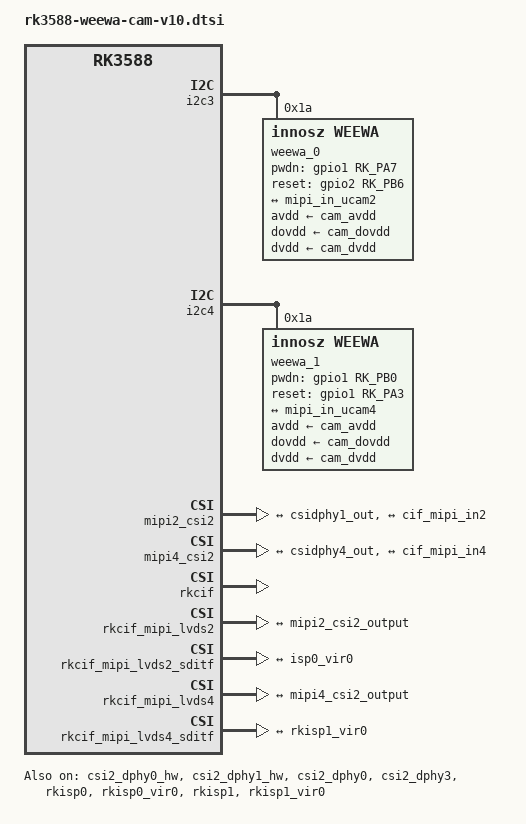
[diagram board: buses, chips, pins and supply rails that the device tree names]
// SPDX-License-Identifier: (GPL-2.0+ OR MIT)
/*
 * Copyright (c) 2021 Rockchip Electronics Co., Ltd.
 *
 */
 
&csi2_dphy0_hw {
	status = "okay";
};

&csi2_dphy1_hw {
	status = "okay";
};

&csi2_dphy0 {
	status = "okay";

	ports {
		#address-cells = <1>;
		#size-cells = <0>;
		port@0 {
			reg = <0>;
			#address-cells = <1>;
			#size-cells = <0>;

			mipi_in_ucam2: endpoint@1 {
				reg = <1>;
				remote-endpoint = <&weewa_out0>;
				data-lanes = <1 2 3 4>;
			};
		};
		port@1 {
			reg = <1>;
			#address-cells = <1>;
			#size-cells = <0>;

			csidphy1_out: endpoint@0 {
				reg = <0>;
				remote-endpoint = <&mipi2_csi2_input>;
			};
		};
	};
};
&csi2_dphy3 {
	status = "okay";

	ports {
		#address-cells = <1>;
		#size-cells = <0>;
		port@0 {
			reg = <0>;
			#address-cells = <1>;
			#size-cells = <0>;

			mipi_in_ucam4: endpoint@1 {
				reg = <1>;
				remote-endpoint = <&weewa_out1>;
				data-lanes = <1 2>;
			};
		};
		port@1 {
			reg = <1>;
			#address-cells = <1>;
			#size-cells = <0>;

			csidphy4_out: endpoint@0 {
				reg = <0>;
				remote-endpoint = <&mipi4_csi2_input>;
			};
		};
	};
};
&i2c3 {
	
	status = "okay";
	pinctrl-names = "default";
    pinctrl-0 = <&i2c3m0_xfer>;	
	
	weewa_0: weewa-0@1a {
		compatible = "innosz,weewa";
		status = "okay";
		reg = <0x1a>;
		//reg = <0x10>;
		clocks = <&cru CLK_MIPI_CAMARAOUT_M1>;
		clock-names = "xvclk";
		power-domains = <&power RK3588_PD_VI>;
		pwdn-gpios = <&gpio1 RK_PA7 GPIO_ACTIVE_HIGH>;
		reset-gpios = <&gpio2 RK_PB6 GPIO_ACTIVE_HIGH>;
		pinctrl-names = "rockchip,camera_default";
		pinctrl-0 = <&mipim0_camera1_clk>;
		avdd-supply = <&cam_avdd>;
		dovdd-supply = <&cam_dovdd>;
		dvdd-supply = <&cam_dvdd>;		
		rockchip,camera-module-index = <0>;
		rockchip,camera-module-facing = "back";
		rockchip,camera-module-name = "CMK-OT1980-PX1";
		rockchip,camera-module-lens-name = "SHG102";
		port {
			weewa_out0: endpoint {
				remote-endpoint = <&mipi_in_ucam2>;
				data-lanes = <1 2 3 4>;
			};
		};
	};
};

&i2c4 {

    status = "okay";
    pinctrl-names = "default";
    pinctrl-0 = <&i2c4m1_xfer>;	
	
	weewa_1: weewa-1@1a {
		compatible = "innosz,weewa";
		status = "okay";
		reg = <0x1a>;
		//reg = <0x10>;
		clocks = <&cru CLK_MIPI_CAMARAOUT_M2>;
		clock-names = "xvclk";
		power-domains = <&power RK3588_PD_VI>;
		pinctrl-names = "rockchip,camera_default";
		pinctrl-0 = <&mipim0_camera2_clk>;
		pwdn-gpios = <&gpio1 RK_PB0 GPIO_ACTIVE_HIGH>;
		reset-gpios = <&gpio1 RK_PA3 GPIO_ACTIVE_HIGH>;
		avdd-supply = <&cam_avdd>;
		dovdd-supply = <&cam_dovdd>;
		dvdd-supply = <&cam_dvdd>;
		rockchip,camera-module-index = <1>;
		rockchip,camera-module-facing = "back";
		rockchip,camera-module-name = "CMK-OT1980-PX1";
		rockchip,camera-module-lens-name = "SHG102";
		port {
			weewa_out1: endpoint {
				remote-endpoint = <&mipi_in_ucam4>;
				data-lanes = <1 2 3 4>;
			};
		};
	};
};


&mipi2_csi2 {
	status = "okay";

	ports {
		#address-cells = <1>;
		#size-cells = <0>;

		port@0 {
			reg = <0>;
			#address-cells = <1>;
			#size-cells = <0>;

			mipi2_csi2_input: endpoint@1 {
				reg = <1>;
				remote-endpoint = <&csidphy1_out>;
			};
		};

		port@1 {
			reg = <1>;
			#address-cells = <1>;
			#size-cells = <0>;

			mipi2_csi2_output: endpoint@0 {
				reg = <0>;
				remote-endpoint = <&cif_mipi_in2>;
			};
		};
	};
};


&mipi4_csi2 {
	status = "okay";

	ports {
		#address-cells = <1>;
		#size-cells = <0>;

		port@0 {
			reg = <0>;
			#address-cells = <1>;
			#size-cells = <0>;

			mipi4_csi2_input: endpoint@1 {
				reg = <1>;
				remote-endpoint = <&csidphy4_out>;
			};
		};

		port@1 {
			reg = <1>;
			#address-cells = <1>;
			#size-cells = <0>;

			mipi4_csi2_output: endpoint@0 {
				reg = <0>;
				remote-endpoint = <&cif_mipi_in4>;
			};
		};
	};
};


&rkcif {
	status = "okay";
};


&rkcif_mipi_lvds2 {
	status = "okay";
	rockchip,cif-monitor = <3 2 5 1000 5>;
	port {
		cif_mipi_in2: endpoint {
			remote-endpoint = <&mipi2_csi2_output>;
			data-lanes = <1 2 3 4>;
		};
	};
};

&rkcif_mipi_lvds2_sditf {
	status = "okay";

	port {
		mipi2_lvds_sditf: endpoint {
			remote-endpoint = <&isp0_vir0>;
		};
	};
};

&rkcif_mipi_lvds4 {
	status = "okay";
	rockchip,cif-monitor = <3 2 5 1000 5>;

	port {
		cif_mipi_in4: endpoint {
			remote-endpoint = <&mipi4_csi2_output>;
			data-lanes = <1 2 3 4>;
		};
	};
};

&rkcif_mipi_lvds4_sditf {
	status = "okay";

	port {
		mipi4_lvds_sditf: endpoint {
			remote-endpoint = <&rkisp1_vir0>;
		};
	};
};



&rkcif_mmu {
	status = "okay";
};

&rkisp0 {
	status = "okay";
};

&isp0_mmu {
	status = "okay";
};

&rkisp0_vir0 {
	status = "okay";

	port {
		#address-cells = <1>;
		#size-cells = <0>;

		isp0_vir0: endpoint@0 {
			reg = <0>;
			remote-endpoint = <&mipi2_lvds_sditf>;
		};
	};
};


&rkisp1 {
	status = "okay";
};

&isp1_mmu {
	status = "okay";
};

&rkisp1_vir0 {
	status = "okay";

	port {
		#address-cells = <1>;
		#size-cells = <0>;

		isp1_vir0: endpoint@0 {
			reg = <0>;
			remote-endpoint = <&mipi4_lvds_sditf>;
		};
	};
};
